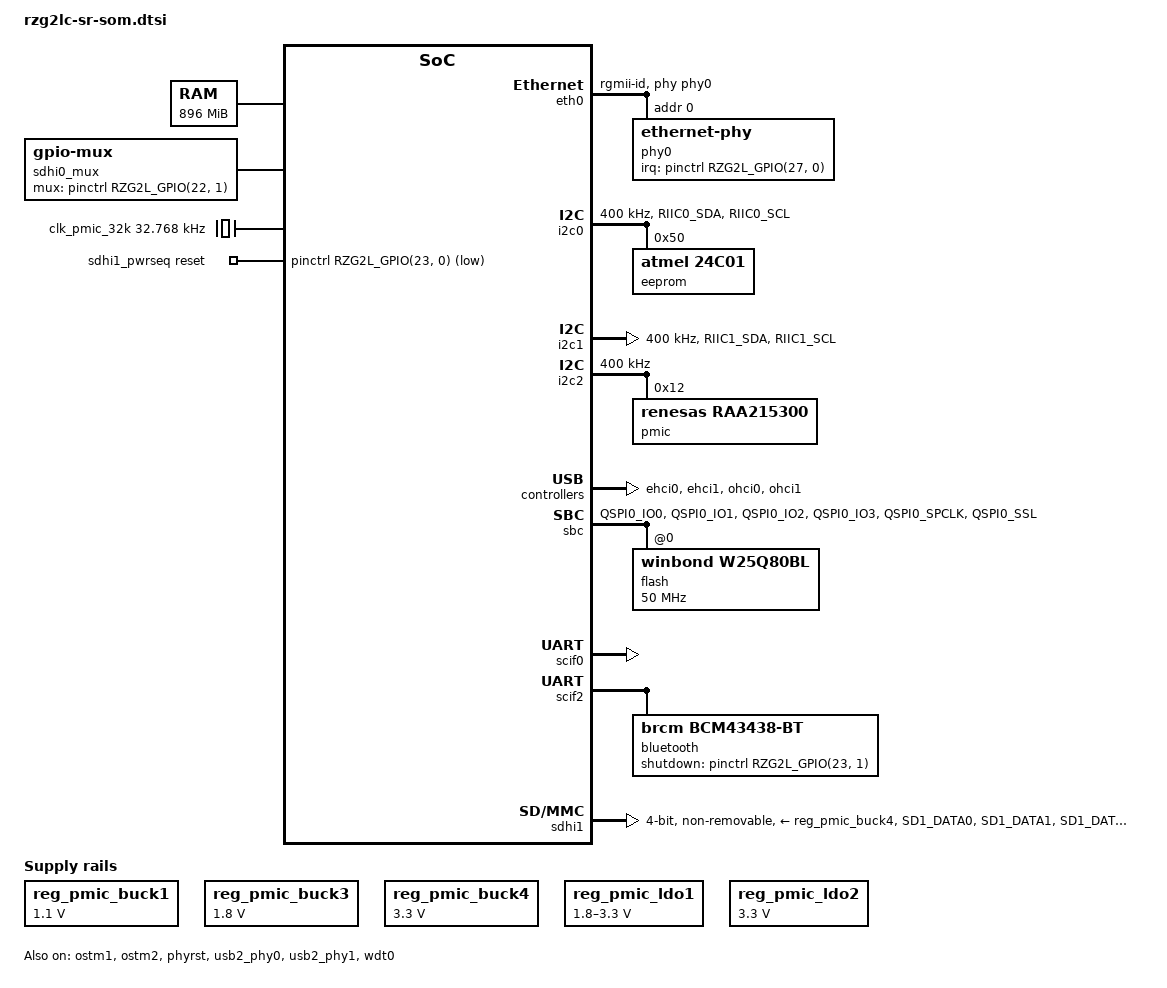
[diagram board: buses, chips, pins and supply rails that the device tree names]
// SPDX-License-Identifier: (GPL-2.0-only OR BSD-2-Clause)
/*
 * Device Tree Source for the RZ/G2LC Solidrun SOM
 *
 * Copyright 2023 SolidRun Ltd.
 * Copyright 2025 Josua Mayer <josua@solid-run.com>
 */

#include <dt-bindings/gpio/gpio.h>
#include <dt-bindings/pinctrl/rzg2l-pinctrl.h>

/ {
	aliases {
		serial0 = &scif0;
		serial1 = &scif1;
		serial2 = &scif2;
		i2c0 = &i2c0;
		i2c1 = &i2c1;
		i2c2 = &i2c2;
		mmc0 = &sdhi0;
		mmc1 = &sdhi1;
		ethernet0 = &eth0;
		rtc0 = &pmic;
	};

	chosen {
		stdout-path = "serial0:115200n8";
	};

	memory@48000000 {
		device_type = "memory";
		/* first 128MB is reserved for secure area. */
		reg = <0x0 0x48000000 0x0 0x38000000>;
	};

	reserved-memory {
		#address-cells = <2>;
		#size-cells = <2>;
		ranges;

		global_cma: linux,cma@58000000 {
			compatible = "shared-dma-pool";
			linux,cma-default;
			reusable;
			reg = <0x0 0x58000000 0x0 0x10000000>;
		};

		mmp_reserved: linux,multimedia {
			compatible = "shared-dma-pool";
			reusable;
			reg = <0x0 0x68000000 0x0 0x8000000>;
		};
	};

	mmngr {
		compatible = "renesas,mmngr";
		memory-region = <&mmp_reserved>;
	};

	mmngrbuf {
		compatible = "renesas,mmngrbuf";
	};

	vspm_if {
		compatible = "renesas,vspm_if";
	};

	sdhi0_mux: mux-controller-0 {
		compatible = "gpio-mux";
		#mux-control-cells = <0>;
		/*
		 * Mux switches SD0_DATA[0-3], SD0_CMD & SD0_CLK between
		 * on-SoM eMMC and board-to-board connector using one gpio:
		 * 0 = connector, 1 = eMMC.
		 */
		mux-gpios = <&pinctrl RZG2L_GPIO(22, 1) GPIO_ACTIVE_HIGH>;
	};

	clk_pmic_32k: pmic-32k-clock {
		compatible = "fixed-clock";
		#clock-cells = <0>;
		clock-frequency = <32768>;
	};

	reg_pmic_buck1: regulator-pmic-buck1 {
		compatible = "regulator-fixed";
		regulator-name = "pmic-buck1";
		regulator-min-microvolt = <1100000>;
		regulator-max-microvolt = <1100000>;
		regulator-boot-on;
		regulator-always-on;
	};

	reg_pmic_buck3: regulator-pmic-buck3 {
		compatible = "regulator-fixed";
		regulator-name = "pmic-buck3";
		regulator-min-microvolt = <1800000>;
		regulator-max-microvolt = <1800000>;
		regulator-boot-on;
		regulator-always-on;
	};

	reg_pmic_buck4: regulator-pmic-buck4 {
		compatible = "regulator-fixed";
		regulator-name = "pmic-buck4";
		regulator-min-microvolt = <3300000>;
		regulator-max-microvolt = <3300000>;
		regulator-boot-on;
		regulator-always-on;
	};

	reg_pmic_ldo1: regulator-pmic-ldo1 {
		compatible = "regulator-gpio";
		regulator-name = "pmic-ldo1";
		regulator-min-microvolt = <1800000>;
		regulator-max-microvolt = <3300000>;
		states = <3300000 1>, <1800000 0>;
		gpios = <&pinctrl RZG2L_GPIO(39, 0) GPIO_ACTIVE_HIGH>;
		regulator-boot-on;
		regulator-always-on;
	};

	reg_pmic_ldo2: regulator-pmic-ldo2 {
		compatible = "regulator-fixed";
		regulator-name = "pmic-ldo2";
		/*
		 * This ldo can switch mmc host controller io voltage between
		 * 1.8V and 3.3V by assembly option of pull-up / pull-dow.
		 * Default assembly is 3.3V.
		 */
		regulator-min-microvolt = <3300000>;
		regulator-max-microvolt = <3300000>;
		regulator-boot-on;
		regulator-always-on;
	};

	sdhi1_pwrseq: sdhi1-pwrseq {
		compatible = "mmc-pwrseq-simple";
		reset-gpios = <&pinctrl RZG2L_GPIO(23, 0) GPIO_ACTIVE_LOW>;
	};

	/* 32.768kHz crystal */
	x2: x2-clock {
		compatible = "fixed-clock";
		#clock-cells = <0>;
		clock-frequency = <32768>;
	};
};

&eth0 {
	pinctrl-0 = <&eth0_pins>;
	pinctrl-names = "default";
	phy-handle = <&phy0>;
	/*
	 * ravb driver does not configure mac internal delays for RZ/G2L(C),
	 * instead delays are added by the MxL86110 phy driver.
	 */
	phy-mode = "rgmii-id";
	status = "okay";

	phy0: ethernet-phy@0 {
		reg = <0>;
		interrupts-extended = <&pinctrl RZG2L_GPIO(27, 0) IRQ_TYPE_LEVEL_LOW>;
	};
};

&i2c0 {
	pinctrl-0 = <&i2c0_pins>;
	pinctrl-names = "default";
	clock-frequency = <400000>;
	status = "okay";

	eeprom: eeprom@50 {
		compatible = "atmel,24c01";
		reg = <0x50>;
		pagesize = <16>;
	};
};

&i2c1 {
	pinctrl-0 = <&i2c1_pins>;
	pinctrl-names = "default";
	clock-frequency = <400000>;
	status = "okay";
};

&i2c2 {
	pinctrl-0 = <&i2c2_pins>;
	pinctrl-names = "default";
	clock-frequency = <400000>;
	status = "okay";

	pmic: pmic@12 {
		compatible = "renesas,raa215300";
		reg = <0x12>, <0x6f>;
		reg-names = "main", "rtc";
		clocks = <&x2>;
		clock-names = "xin";
		/* enable MPIO0 reset output implementing restart handler */
		reset-output;
		/* enable 32k clock on MPIO2 for wifi module */
		mpio2-32k-enable;
	};
};

&ehci0 {
	status = "okay";
};

&ehci1 {
	status = "okay";
};

&extal_clk {
	clock-frequency = <24000000>;
};

&gpu {
	mali-supply = <&reg_pmic_buck1>;
};

&ohci0 {
	status = "okay";
};

&ohci1 {
	status = "okay";
};

&ostm1 {
	status = "okay";
};

&ostm2 {
	status = "okay";
};

&phyrst {
	status = "okay";

	usb0_vbus_otg: regulator-vbus {
		regulator-name = "vbus";
	};
};

&pinctrl {
	eth0_pins: eth0 {
		pinmux = <RZG2L_PORT_PINMUX(28, 1, 1)>, /* ET0_LINKSTA */
			 <RZG2L_PORT_PINMUX(27, 1, 1)>, /* ET0_MDC */
			 <RZG2L_PORT_PINMUX(28, 0, 1)>, /* ET0_MDIO */
			 <RZG2L_PORT_PINMUX(20, 0, 1)>, /* ET0_TXC */
			 <RZG2L_PORT_PINMUX(20, 1, 1)>, /* ET0_TX_CTL */
			 <RZG2L_PORT_PINMUX(20, 2, 1)>, /* ET0_TXD0 */
			 <RZG2L_PORT_PINMUX(21, 0, 1)>, /* ET0_TXD1 */
			 <RZG2L_PORT_PINMUX(21, 1, 1)>, /* ET0_TXD2 */
			 <RZG2L_PORT_PINMUX(22, 0, 1)>, /* ET0_TXD3 */
			 <RZG2L_PORT_PINMUX(24, 0, 1)>, /* ET0_RXC */
			 <RZG2L_PORT_PINMUX(24, 1, 1)>, /* ET0_RX_CTL */
			 <RZG2L_PORT_PINMUX(25, 0, 1)>, /* ET0_RXD0 */
			 <RZG2L_PORT_PINMUX(25, 1, 1)>, /* ET0_RXD1 */
			 <RZG2L_PORT_PINMUX(26, 0, 1)>, /* ET0_RXD2 */
			 <RZG2L_PORT_PINMUX(26, 1, 1)>; /* ET0_RXD3 */
	};

	i2c0_pins: i2c0 {
		pins = "RIIC0_SDA", "RIIC0_SCL";
		input-enable;
	};

	i2c1_pins: i2c1 {
		pins = "RIIC1_SDA", "RIIC1_SCL";
		input-enable;
	};

	i2c2_pins: i2c2 {
		pinmux = <RZG2L_PORT_PINMUX(42, 3, 1)>, /* RIIC2_SDA */
			 <RZG2L_PORT_PINMUX(42, 4, 1)>; /* RIIC2_SCL */
	};

	qspi0_pins: qspi0 {
		pins = "QSPI0_IO0", "QSPI0_IO1", "QSPI0_IO2", "QSPI0_IO3",
		       "QSPI0_SPCLK", "QSPI0_SSL";
		power-source = <1800>;
	};

	scif0_pins: scif0 {
		pinmux = <RZG2L_PORT_PINMUX(38, 0, 1)>,	/* SCIF0_TXD */
			 <RZG2L_PORT_PINMUX(38, 1, 1)>;	/* SCIF0_RXD */
	};

	scif2_pins: scif2 {
		pinmux = <RZG2L_PORT_PINMUX(42, 0, 4)>, /* SCIF2_TXD */
			 <RZG2L_PORT_PINMUX(42, 1, 4)>, /* SCIF2_RXD */
			 <RZG2L_PORT_PINMUX(5, 1, 2)>, /* SCIF2_CTS# */
			 <RZG2L_PORT_PINMUX(5, 2, 2)>; /* SCIF2_RTS# */
	};

	sdhi0_pins: sdhi0 {
		pins = "SD0_DATA0", "SD0_DATA1", "SD0_DATA2", "SD0_DATA3",
		       "SD0_DATA4", "SD0_DATA5", "SD0_DATA6", "SD0_DATA7",
		       "SD0_CLK", "SD0_CMD";
		power-source = <3300>;
	};

	sdhi0_uhs_pins: sdhi0 {
		pins = "SD0_DATA0", "SD0_DATA1", "SD0_DATA2", "SD0_DATA3",
		       "SD0_DATA4", "SD0_DATA5", "SD0_DATA6", "SD0_DATA7",
		       "SD0_CLK", "SD0_CMD";
		power-source = <1800>;
	};

	/* SD0_RST is only routed to eMMC which uses fixed 1.8V IO voltage */
	sdhi0_rst_pins: sdhi0-rst {
		pins = "SD0_RST#";
		power-source = <1800>;
	};

	sdhi0_cd_pins: sdhi0-cd {
		pinmux = <RZG2L_PORT_PINMUX(18, 0, 1)>; /* SD0_CD */
	};

	sdhi1_pins: sdhi1 {
		pins = "SD1_DATA0", "SD1_DATA1", "SD1_DATA2", "SD1_DATA3",
		       "SD1_CLK", "SD1_CMD";
		power-source = <3300>;
	};

	usb0_vbus_pins: usb0-vbus {
		pinmux = <RZG2L_PORT_PINMUX(4, 0, 1)>; /* USB0_VBUSEN */
	};
};

&sbc {
	pinctrl-0 = <&qspi0_pins>;
	pinctrl-names = "default";
	status = "okay";

	flash@0 {
		compatible = "winbond,w25q80bl", "jedec,spi-nor";
		reg = <0>;
		spi-max-frequency = <50000000>;
		m25p,fast-read;
	};
};

&scif0 {
	pinctrl-0 = <&scif0_pins>;
	pinctrl-names = "default";
	status = "okay";
};

&scif2 {
	pinctrl-0 = <&scif2_pins>;
	pinctrl-names = "default";
	uart-has-rtscts;
	status = "okay";

	bluetooth {
		/*
		 * The BT is based on BCM4343A2. Murata 1MW variant seems to
		 * require driving RTS on open.
		 * Use compatible bcm43438 to accomplish this.
		 */
		compatible = "brcm,bcm43438-bt";
		clocks = <&clk_pmic_32k>;
		clock-names = "lpo";
		shutdown-gpios = <&pinctrl RZG2L_GPIO(23, 1) GPIO_ACTIVE_HIGH>;
		/*
		 * With P1 clock at 100MHz, RZ/G2L CPG can only generate few
		 * standard rates with low error rate. The best high-speed
		 * rate is 921600.
		 */
		max-speed = <921600>;
	};
};

/* WiFi */
&sdhi1 {
	pinctrl-0 = <&sdhi1_pins>;
	pinctrl-names = "default";
	vmmc-supply = <&reg_pmic_buck4>;
	/*
	 * Host controller IO voltage is provided from reg_pmic_ldo2,
	 * WiFi module IO voltage from reg_pmic_buck4.
	 * Neither is configurable at run-time so either can be set here.
	 */
	vqmmc-supply = <&reg_pmic_ldo2>;
	mmc-pwrseq = <&sdhi1_pwrseq>;
	no-sd;
	no-1-8-v;
	bus-width = <4>;
	non-removable;
	/* Murata 1YN max rate is 50MHz */
	max-frequency = <50000000>;
	status = "okay";
};

&usb2_phy0 {
	vbus-supply = <&usb0_vbus_otg>;
	status = "okay";
};

&usb2_phy1 {
	status = "okay";
};

&wdt0 {
	status = "okay";
};
